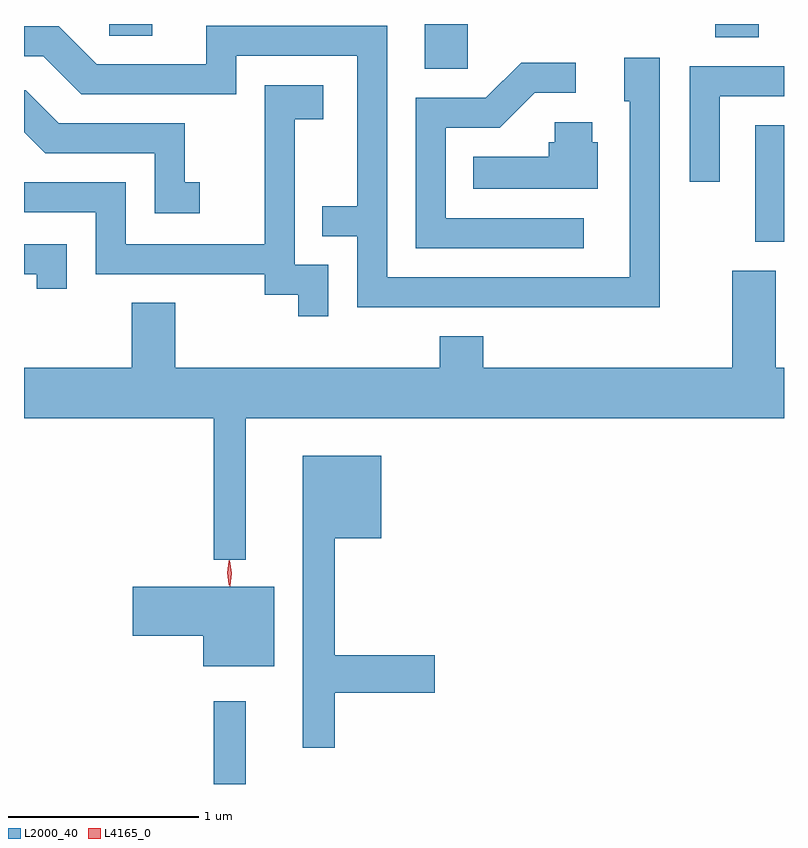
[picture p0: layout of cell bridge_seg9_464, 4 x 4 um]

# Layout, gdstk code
import gdstk
lib = gdstk.Library(unit=1e-6, precision=1e-09)
def R(c, l, rs):  # rectangles x0, y0, x1, y1
    for r in rs: c.add(gdstk.rectangle(r[:2], r[2:], *l))
def P(c, l, *ps):  # polygons
    for p in ps: c.add(gdstk.Polygon(p, *l))
L2000_40 = (2000, 40)
L4165_0 = (4165, 0)

bridge_seg9_464 = lib.new_cell('bridge_seg9_464')
R(bridge_seg9_464, L2000_40, [(619.391,1983.232,619.559,1983.668), (622.241,1986.086,622.393,1986.699), (620.501,1986.996,620.729,1987.232), (622.031,1987.161,622.259,1987.232), (618.841,1987.171,619.069,1987.232)])
P(bridge_seg9_464, L2000_40, [(621.739,1987.054),(621.551,1987.054),(621.551,1986.826),(621.581,1986.826),(621.581,1985.899),(620.304,1985.899),(620.304,1987.224),(619.351,1987.224),(619.351,1987.019),(618.777,1987.019),(618.577,1987.219),(618.393,1987.219),(618.393,1987.061),(618.494,1987.061),(618.694,1986.861),(619.509,1986.861),(619.509,1987.066),(620.146,1987.066),(620.146,1986.274),(619.963,1986.274),(619.963,1986.116),(620.146,1986.116),(620.146,1985.741),(621.739,1985.741)],
  [(621.338,1986.209),(620.614,1986.209),(620.614,1986.686),(620.897,1986.686),(621.082,1986.871),(621.298,1986.871),(621.298,1987.029),(621.009,1987.029),(620.824,1986.844),(620.456,1986.844),(620.456,1986.051),(621.338,1986.051)],
  [(622.054,1986.851),(622.393,1986.851),(622.393,1987.009),(621.896,1987.009),(621.896,1986.403),(622.054,1986.403)],
  [(619.994,1985.964),(619.819,1985.964),(619.819,1986.731),(619.969,1986.731),(619.969,1986.909),(619.661,1986.909),(619.661,1986.074),(618.929,1986.074),(618.929,1986.399),(618.393,1986.399),(618.393,1986.241),(618.771,1986.241),(618.771,1985.916),(619.661,1985.916),(619.661,1985.806),(619.836,1985.806),(619.836,1985.693),(619.994,1985.693)],
  [(619.318,1986.399),(619.239,1986.399),(619.239,1986.709),(618.577,1986.709),(618.402,1986.884),(618.393,1986.884),(618.393,1986.662),(618.504,1986.551),(619.081,1986.551),(619.081,1986.236),(619.318,1986.236)],
  [(621.414,1986.609),(621.384,1986.609),(621.384,1986.714),(621.186,1986.714),(621.186,1986.609),(621.156,1986.609),(621.156,1986.534),(620.758,1986.534),(620.758,1986.366),(621.414,1986.366)],
  [(618.619,1986.074),(618.393,1986.074),(618.393,1985.916),(618.461,1985.916),(618.461,1985.838),(618.619,1985.838)],
  [(619.559,1985.156),(622.393,1985.156),(622.393,1985.424),(622.349,1985.424),(622.349,1985.934),(622.121,1985.934),(622.121,1985.424),(620.809,1985.424),(620.809,1985.589),(620.581,1985.589),(620.581,1985.424),(619.189,1985.424),(619.189,1985.764),(618.961,1985.764),(618.961,1985.424),(618.393,1985.424),(618.393,1985.156),(619.391,1985.156),(619.391,1984.413),(619.559,1984.413)],
  [(620.029,1983.711),(620.554,1983.711),(620.554,1983.909),(620.029,1983.909),(620.029,1984.526),(620.274,1984.526),(620.274,1984.959),(619.861,1984.959),(619.861,1983.423),(620.029,1983.423)],
  [(619.709,1984.269),(618.966,1984.269),(618.966,1984.011),(619.336,1984.011),(619.336,1983.851),(619.709,1983.851)])
P(bridge_seg9_464, L4165_0, [(619.477,1984.274),(619.467,1984.342),(619.476,1984.41),(619.477,1984.41),(619.477,1984.41),(619.487,1984.342),(619.478,1984.274),(619.478,1984.274)],
  [(619.471,1984.28),(619.462,1984.343),(619.471,1984.406),(619.472,1984.407),(619.472,1984.406),(619.482,1984.343),(619.472,1984.28),(619.472,1984.28)])

lib.write_gds('bridge_seg9_464.gds')
